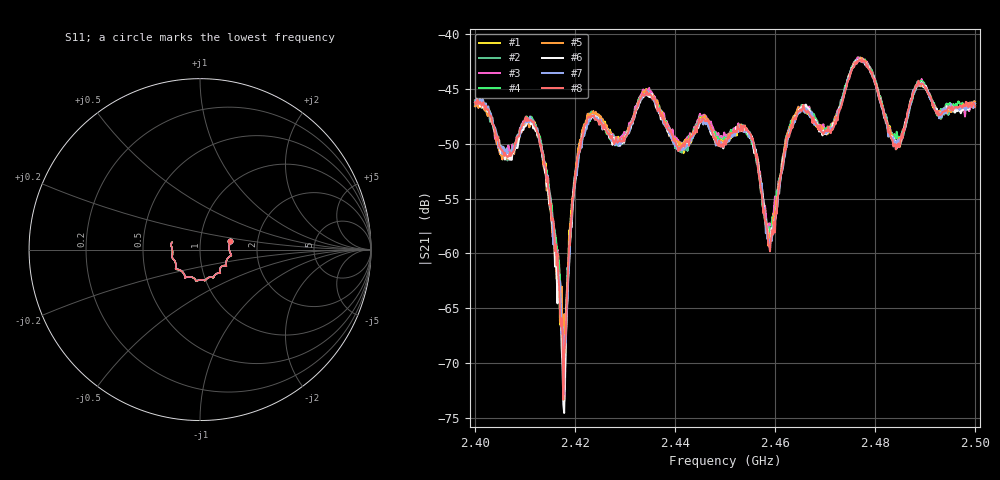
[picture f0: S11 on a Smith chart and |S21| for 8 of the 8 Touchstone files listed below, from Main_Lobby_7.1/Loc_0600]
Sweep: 2.4 GHz to 2.5 GHz
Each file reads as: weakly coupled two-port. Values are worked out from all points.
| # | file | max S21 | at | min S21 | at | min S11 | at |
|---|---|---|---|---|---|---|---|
| 1 | Lab_139_2Ch1.s2p | -42.08 dB | 2.4767 GHz | -69.3 dB | 2.418 GHz | -15.9 dB | 2.4257 GHz |
| 2 | Lab_139_3Ch1.s2p | -42.11 dB | 2.477 GHz | -69.5 dB | 2.4175 GHz | -15.9 dB | 2.4257 GHz |
| 3 | Lab_139_4Ch1.s2p | -42.10 dB | 2.4765 GHz | -73.5 dB | 2.4178 GHz | -15.9 dB | 2.4257 GHz |
| 4 | Lab_139_5Ch1.s2p | -42.19 dB | 2.4772 GHz | -72.1 dB | 2.4178 GHz | -15.9 dB | 2.4257 GHz |
| 5 | Lab_139_6Ch1.s2p | -42.16 dB | 2.4772 GHz | -68.4 dB | 2.4175 GHz | -15.9 dB | 2.4257 GHz |
| 6 | Lab_139_7Ch1.s2p | -42.25 dB | 2.477 GHz | -74.6 dB | 2.4178 GHz | -15.9 dB | 2.4257 GHz |
| 7 | Lab_139_8Ch1.s2p | -42.29 dB | 2.477 GHz | -72.9 dB | 2.4177 GHz | -15.9 dB | 2.4257 GHz |
| 8 | Lab_139_9Ch1.s2p | -42.29 dB | 2.477 GHz | -73.4 dB | 2.4177 GHz | -15.9 dB | 2.4257 GHz |
